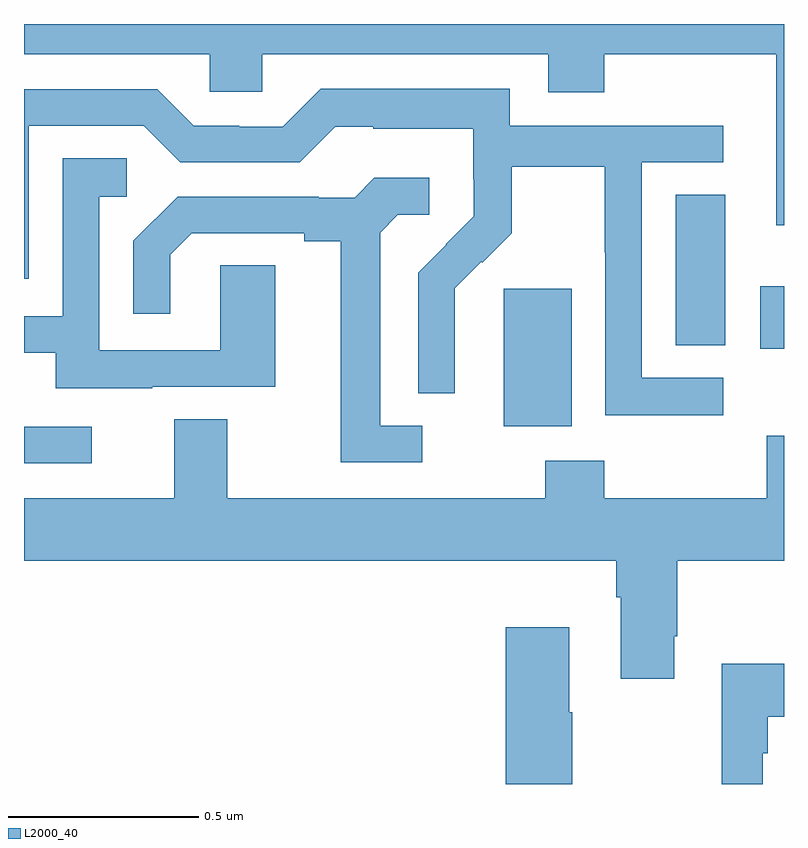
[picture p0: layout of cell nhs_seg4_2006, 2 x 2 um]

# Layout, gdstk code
import gdstk
lib = gdstk.Library(unit=1e-6, precision=1e-09)
def R(c, l, rs):  # rectangles x0, y0, x1, y1
    for r in rs: c.add(gdstk.rectangle(r[:2], r[2:], *l))
def P(c, l, *ps):  # polygons
    for p in ps: c.add(gdstk.Polygon(p, *l))
L2000_40 = (2000, 40)

nhs_seg4_2006 = lib.new_cell('nhs_seg4_2006')
R(nhs_seg4_2006, L2000_40, [(135,795.744,135.178,795.84), (136.262,795.842,136.441,796.203), (136.938,796.046,137,796.21), (136.715,796.054,136.846,796.451)])
P(nhs_seg4_2006, L2000_40, [(137,796.9),(135,796.9),(135,796.82),(135.489,796.82),(135.489,796.722),(135.627,796.722),(135.627,796.82),(136.379,796.82),(136.379,796.721),(136.527,796.721),(136.527,796.82),(136.979,796.82),(136.979,796.371),(137,796.371)],
  [(136.84,795.969),(136.626,795.969),(136.626,796.536),(136.84,796.536),(136.84,796.632),(136.278,796.632),(136.278,796.729),(135.781,796.729),(135.681,796.629),(135.566,796.629),(135.566,796.632),(135.447,796.632),(135.351,796.728),(135,796.728),(135,796.23),(135.012,796.23),(135.012,796.632),(135.315,796.632),(135.411,796.536),(135.726,796.536),(135.819,796.629),(135.919,796.629),(135.919,796.625),(136.182,796.625),(136.182,796.491),(136.184,796.491),(136.184,796.394),(136.11,796.32),(136.111,796.319),(136.038,796.246),(136.038,795.928),(136.134,795.928),(136.134,796.082),(136.133,796.082),(136.133,796.205),(136.203,796.275),(136.206,796.272),(136.283,796.349),(136.283,796.524),(136.528,796.524),(136.528,796.3),(136.53,796.3),(136.53,795.871),(136.84,795.871)],
  [(135.337,795.945),(135.661,795.945),(135.661,796.265),(135.516,796.265),(135.516,796.041),(135.198,796.041),(135.198,796.446),(135.271,796.446),(135.271,796.547),(135.102,796.547),(135.102,796.131),(135,796.131),(135,796.035),(135.083,796.035),(135.083,795.941),(135.337,795.941)],
  [(136.048,795.843),(135.937,795.843),(135.937,796.351),(135.984,796.398),(136.066,796.398),(136.066,796.495),(135.922,796.495),(135.87,796.443),(135.776,796.443),(135.776,796.446),(135.404,796.446),(135.288,796.33),(135.288,796.137),(135.385,796.137),(135.385,796.293),(135.442,796.35),(135.737,796.35),(135.737,796.328),(135.833,796.328),(135.833,795.747),(136.048,795.747)],
  [(136.711,795.289),(136.719,795.289),(136.719,795.488),(137,795.488),(137,795.817),(136.954,795.817),(136.954,795.652),(136.527,795.652),(136.527,795.751),(136.372,795.751),(136.372,795.652),(135.535,795.652),(135.535,795.86),(135.395,795.86),(135.395,795.652),(135,795.652),(135,795.488),(136.559,795.488),(136.559,795.392),(136.571,795.392),(136.571,795.177),(136.711,795.177)],
  [(136.443,795.089),(136.435,795.089),(136.435,795.313),(136.268,795.313),(136.268,794.9),(136.443,794.9)],
  [(136.944,794.981),(136.957,794.981),(136.957,795.077),(137,795.077),(137,795.217),(136.836,795.217),(136.836,794.9),(136.944,794.9)])

lib.write_gds('nhs_seg4_2006.gds')
